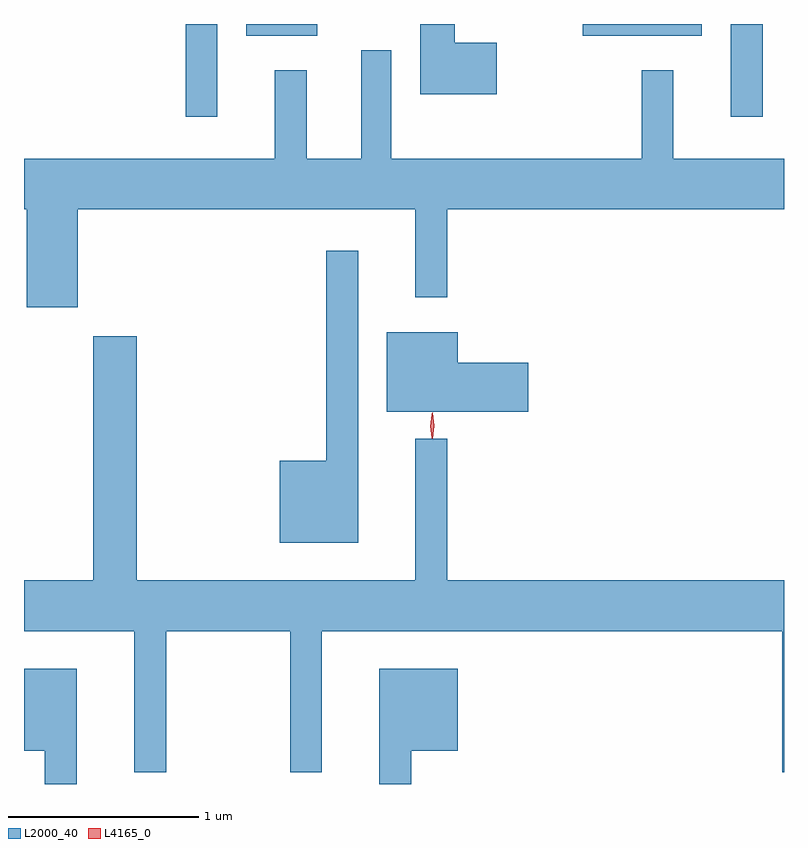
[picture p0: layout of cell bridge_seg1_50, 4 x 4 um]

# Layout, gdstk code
import gdstk
lib = gdstk.Library(unit=1e-6, precision=1e-09)
def R(c, l, rs):  # rectangles x0, y0, x1, y1
    for r in rs: c.add(gdstk.rectangle(r[:2], r[2:], *l))
def P(c, l, *ps):  # polygons
    for p in ps: c.add(gdstk.Polygon(p, *l))
L2000_40 = (2000, 40)
L4165_0 = (4165, 0)

bridge_seg1_50 = lib.new_cell('bridge_seg1_50')
R(bridge_seg1_50, L2000_40, [(1905.701,851.223,1905.869,851.712), (1908.571,851.223,1908.739,851.712), (1906.021,851.651,1906.394,851.712), (1907.791,851.651,1908.419,851.712)])
P(bridge_seg1_50, L2000_40, [(1907.339,851.614),(1907.119,851.614),(1907.119,851.712),(1906.936,851.712),(1906.936,851.341),(1907.339,851.341)],
  [(1905.134,850.736),(1906.911,850.736),(1906.911,850.273),(1907.079,850.273),(1907.079,850.736),(1908.851,850.736),(1908.851,851.004),(1908.269,851.004),(1908.269,851.468),(1908.101,851.468),(1908.101,851.004),(1906.784,851.004),(1906.784,851.573),(1906.626,851.573),(1906.626,851.004),(1906.339,851.004),(1906.339,851.468),(1906.171,851.468),(1906.171,851.004),(1904.851,851.004),(1904.851,850.736),(1904.866,850.736),(1904.866,850.221),(1905.134,850.221)],
  [(1906.609,850.518),(1906.441,850.518),(1906.441,849.414),(1906.196,849.414),(1906.196,848.981),(1906.609,848.981)],
  [(1907.504,849.929),(1907.134,849.929),(1907.134,850.089),(1906.761,850.089),(1906.761,849.671),(1907.504,849.671)],
  [(1905.599,848.516),(1906.251,848.516),(1906.251,847.773),(1906.419,847.773),(1906.419,848.516),(1908.841,848.516),(1908.841,847.773),(1908.851,847.773),(1908.851,848.784),(1907.079,848.784),(1907.079,849.528),(1906.911,849.528),(1906.911,848.784),(1905.444,848.784),(1905.444,850.069),(1905.216,850.069),(1905.216,848.784),(1904.851,848.784),(1904.851,848.516),(1905.431,848.516),(1905.431,847.773),(1905.599,847.773)],
  [(1905.129,848.319),(1904.851,848.319),(1904.851,847.886),(1904.961,847.886),(1904.961,847.712),(1905.129,847.712)],
  [(1906.889,847.886),(1907.134,847.886),(1907.134,848.319),(1906.721,848.319),(1906.721,847.712),(1906.889,847.712)])
P(bridge_seg1_50, L4165_0, [(1906.998,849.533),(1906.998,849.533),(1906.988,849.596),(1906.998,849.659),(1906.998,849.66),(1906.999,849.659),(1907.008,849.596),(1906.999,849.533)],
  [(1907.001,849.53),(1907.001,849.53),(1906.991,849.598),(1907,849.666),(1907.001,849.666),(1907.001,849.666),(1907.011,849.598),(1907.002,849.53)])

lib.write_gds('bridge_seg1_50.gds')
